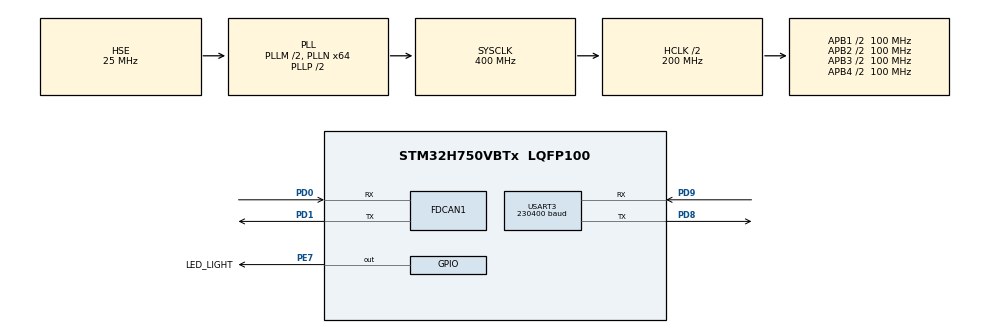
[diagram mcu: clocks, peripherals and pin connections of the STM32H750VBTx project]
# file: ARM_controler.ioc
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FDCAN1.AutoRetransmission=ENABLE
FDCAN1.CalculateBaudRateNominal=1000000
FDCAN1.CalculateTimeBitNominal=1000
FDCAN1.CalculateTimeQuantumNominal=12.5
FDCAN1.DataPrescaler=1
FDCAN1.DataSyncJumpWidth=4
FDCAN1.DataTimeSeg1=11
FDCAN1.DataTimeSeg2=4
FDCAN1.ExtFiltersNbr=0
FDCAN1.FrameFormat=FDCAN_FRAME_FD_BRS
FDCAN1.Mode=FDCAN_MODE_NORMAL
FDCAN1.NominalPrescaler=1
FDCAN1.NominalSyncJumpWidth=20
FDCAN1.NominalTimeSeg1=59
FDCAN1.NominalTimeSeg2=20
FDCAN1.ProtocolException=ENABLE
FDCAN1.RxBufferSize=FDCAN_DATA_BYTES_8
FDCAN1.RxBuffersNbr=0
FDCAN1.RxFifo0ElmtSize=FDCAN_DATA_BYTES_20
FDCAN1.RxFifo0ElmtsNbr=32
FDCAN1.RxFifo1ElmtSize=FDCAN_DATA_BYTES_20
FDCAN1.RxFifo1ElmtsNbr=8
FDCAN1.StdFiltersNbr=64
FDCAN1.TransmitPause=DISABLE
FDCAN1.TxBuffersNbr=0
FDCAN1.TxElmtSize=FDCAN_DATA_BYTES_20
FDCAN1.TxEventsNbr=0
FDCAN1.TxFifoQueueElmtsNbr=32
FDCAN1.TxFifoQueueMode=FDCAN_TX_FIFO_OPERATION
Mcu.Family=STM32H7
Mcu.Name=STM32H750VBTx
Mcu.Package=LQFP100
NVIC.FDCAN1_IT0_IRQn=true\:0\:0\:true\:false\:true\:true\:true\:true
NVIC.FDCAN1_IT1_IRQn=true\:0\:0\:true\:false\:true\:true\:true\:true
NVIC.PriorityGroup=NVIC_PRIORITYGROUP_4
NVIC.USART3_IRQn=true\:0\:0\:false\:false\:true\:true\:true\:true
PA13\ (JTMS/SWDIO).Mode=Serial_Wire
PA13\ (JTMS/SWDIO).Signal=DEBUG_JTMS-SWDIO
PA14\ (JTCK/SWCLK).Mode=Serial_Wire
PA14\ (JTCK/SWCLK).Signal=DEBUG_JTCK-SWCLK
PD0.GPIO_PuPd=GPIO_NOPULL
PD0.GPIO_Speed=GPIO_SPEED_FREQ_HIGH
PD0.Mode=FDCAN_Activate
PD0.Signal=FDCAN1_RX
PD1.GPIO_PuPd=GPIO_NOPULL
PD1.GPIO_Speed=GPIO_SPEED_FREQ_HIGH
PD1.Mode=FDCAN_Activate
PD1.Signal=FDCAN1_TX
PD8.Mode=Asynchronous
PD8.Signal=USART3_TX
PD9.Mode=Asynchronous
PD9.Signal=USART3_RX
PE7.GPIO_Label=LED_LIGHT
PE7.GPIO_Speed=GPIO_SPEED_FREQ_VERY_HIGH
PE7.Signal=GPIO_Output
PH0-OSC_IN\ (PH0).Mode=HSE-External-Oscillator
PH0-OSC_IN\ (PH0).Signal=RCC_OSC_IN
PH1-OSC_OUT\ (PH1).Mode=HSE-External-Oscillator
PH1-OSC_OUT\ (PH1).Signal=RCC_OSC_OUT
ProjectManager.HeapSize=0x200
ProjectManager.StackSize=0x400
ProjectManager.TargetToolchain=MDK-ARM V5.32
RCC.ADCFreq_Value=80000000
RCC.APB1Freq_Value=100000000
RCC.APB2Freq_Value=100000000
RCC.APB3Freq_Value=100000000
RCC.APB4Freq_Value=100000000
RCC.CortexFreq_Value=400000000
RCC.D1PPRE=RCC_APB3_DIV2
RCC.D2PPRE1=RCC_APB1_DIV2
RCC.D2PPRE2=RCC_APB2_DIV2
RCC.D3PPRE=RCC_APB4_DIV2
RCC.DIVM1=2
RCC.DIVM2=25
RCC.DIVM3=25
RCC.DIVN1=64
RCC.DIVN2=160
RCC.DIVN3=270
RCC.FDCANCLockSelection=RCC_FDCANCLKSOURCE_PLL2
RCC.HCLKFreq_Value=200000000
RCC.HPRE=RCC_HCLK_DIV2
RCC.PLL2FRACN=0
RCC.PLL3FRACN=0
RCC.PLLFRACN=0
RCC.PLLSourceVirtual=RCC_PLLSOURCE_HSE
RCC.SYSCLKFreq_VALUE=400000000
RCC.SYSCLKSource=RCC_SYSCLKSOURCE_PLLCLK
RCC.USBFreq_Value=400000000
USART3.BaudRate=230400
USART3.VirtualMode-Asynchronous=VM_ASYNC
VP_MEMORYMAP_VS_MEMORYMAP.Mode=CurAppReg
board=custom

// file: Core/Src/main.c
/* USER CODE BEGIN Header */
/**
  ******************************************************************************
  * @file           : main.c
  * @brief          : Main program body
  ******************************************************************************
  * @attention
  *
  * Copyright (c) 2025 STMicroelectronics.
  * All rights reserved.
  *
  * This software is licensed under terms that can be found in the LICENSE file
  * in the root directory of this software component.
  * If no LICENSE file comes with this software, it is provided AS-IS.
  *
  ******************************************************************************
  */
/* USER CODE END Header */
#include "main.h"
#include "fdcan.h"
#include "memorymap.h"
#include "usart.h"
#include "gpio.h"

/* USER CODE BEGIN Includes */
#include <stdio.h>
#include <string.h>
/* USER CODE END Includes */

void SystemClock_Config(void);

/* USER CODE BEGIN 0 */
FDCAN_RxHeaderTypeDef RxHeader;
uint8_t RxData[20];
uint8_t Rx_data[20];
void HAL_FDCAN_RxFifo0Callback(FDCAN_HandleTypeDef *hfdcan, uint32_t RxFifo0ITs)
{

    // 检查 FIFO0 中是否有新消息
    if ((RxFifo0ITs & FDCAN_IT_RX_FIFO0_NEW_MESSAGE) != RESET)    /* FIFO1新数据中断 */
    {
        // 接收消息
        if (HAL_FDCAN_GetRxMessage(&hfdcan1, FDCAN_RX_FIFO0, &RxHeader, RxData) == HAL_OK)
        {

						// 复制 RxData 的数据到 Rx_data
					  memcpy(Rx_data, RxData, sizeof(RxData));
					 // 清空 RxData 数组
					  memset(RxData, 0, sizeof(RxData));
            // 检查消息ID和DLC
            if ((RxHeader.Identifier == ((1 << 7) | 0x05)) && (RxHeader.DataLength == FDCAN_DLC_BYTES_1))
            {
                // 处理执行结果
                switch (RxData[0])
                {
                    case 0x00:
												printf("SUCCESS!");
                        // 正常执行
                        break;
                    case 0x01:
												printf("FILED!");
                        // 异常执行
                        break;
                    default:
                        // 未知结果
                        break;
                }
            }
        }
    }

}

float speed = 10.0f;

/* USER CODE END 0 */

int main(void)
{

  /* MCU Configuration--------------------------------------------------------*/

  /* Reset of all peripherals, Initializes the Flash interface and the Systick. */
  HAL_Init();

  /* Configure the system clock */
  SystemClock_Config();

  /* Initialize all configured peripherals */
  MX_GPIO_Init();
  MX_FDCAN1_Init();
  MX_USART3_UART_Init();
  /* USER CODE BEGIN 2 */
	FDCAN_Filter_Config();

	//设定原点
	fdcanx_send_data(&hfdcan1, 1, NULL, 0);
	HAL_Delay(10);
	//选择运动模式0x02（轮廓速度模式）
	uint8_t con_mode = 0x02;
	FDCAN_Send_MOOD(1,&con_mode);
	HAL_Delay(10);
	//启动电机，并等待1s，后控制
	FDCAN_Send_Packet(1,NULL,0);
	HAL_Delay(1000);

  /* USER CODE END 2 */

  /* Infinite loop */
  while (1)
  {

    /* USER CODE BEGIN 3 */
		//控制速度功能码0x22
		FDCAN_Send_TargetSpeed(1,0,0,speed);
		//HAL_GPIO_TogglePin(LED_LIGHT_GPIO_Port,LED_LIGHT_Pin);
		HAL_Delay(1);
  }
  /* USER CODE END 3 */
}

void SystemClock_Config(void)
{
  RCC_OscInitTypeDef RCC_OscInitStruct = {0};
  RCC_ClkInitTypeDef RCC_ClkInitStruct = {0};

  /** Supply configuration update enable
  */
  HAL_PWREx_ConfigSupply(PWR_LDO_SUPPLY);

  /** Configure the main internal regulator output voltage
  */
  __HAL_PWR_VOLTAGESCALING_CONFIG(PWR_REGULATOR_VOLTAGE_SCALE1);

  while(!__HAL_PWR_GET_FLAG(PWR_FLAG_VOSRDY)) {}

  /** Initializes the RCC Oscillators according to the specified parameters
  * in the RCC_OscInitTypeDef structure.
  */
  RCC_OscInitStruct.OscillatorType = RCC_OSCILLATORTYPE_HSE;
  RCC_OscInitStruct.HSEState = RCC_HSE_ON;
  RCC_OscInitStruct.PLL.PLLState = RCC_PLL_ON;
  RCC_OscInitStruct.PLL.PLLSource = RCC_PLLSOURCE_HSE;
  RCC_OscInitStruct.PLL.PLLM = 2;
  RCC_OscInitStruct.PLL.PLLN = 64;
  RCC_OscInitStruct.PLL.PLLP = 2;
  RCC_OscInitStruct.PLL.PLLQ = 2;
  RCC_OscInitStruct.PLL.PLLR = 2;
  RCC_OscInitStruct.PLL.PLLRGE = RCC_PLL1VCIRANGE_3;
  RCC_OscInitStruct.PLL.PLLVCOSEL = RCC_PLL1VCOWIDE;
  RCC_OscInitStruct.PLL.PLLFRACN = 0;
  if (HAL_RCC_OscConfig(&RCC_OscInitStruct) != HAL_OK)
  {
    Error_Handler();
  }

  /** Initializes the CPU, AHB and APB buses clocks
  */
  RCC_ClkInitStruct.ClockType = RCC_CLOCKTYPE_HCLK|RCC_CLOCKTYPE_SYSCLK
                              |RCC_CLOCKTYPE_PCLK1|RCC_CLOCKTYPE_PCLK2
                              |RCC_CLOCKTYPE_D3PCLK1|RCC_CLOCKTYPE_D1PCLK1;
  RCC_ClkInitStruct.SYSCLKSource = RCC_SYSCLKSOURCE_PLLCLK;
  RCC_ClkInitStruct.SYSCLKDivider = RCC_SYSCLK_DIV1;
  RCC_ClkInitStruct.AHBCLKDivider = RCC_HCLK_DIV2;
  RCC_ClkInitStruct.APB3CLKDivider = RCC_APB3_DIV2;
  RCC_ClkInitStruct.APB1CLKDivider = RCC_APB1_DIV2;
  RCC_ClkInitStruct.APB2CLKDivider = RCC_APB2_DIV2;
  RCC_ClkInitStruct.APB4CLKDivider = RCC_APB4_DIV2;

  if (HAL_RCC_ClockConfig(&RCC_ClkInitStruct, FLASH_LATENCY_2) != HAL_OK)
  {
    Error_Handler();
  }
}

/* USER CODE BEGIN 4 */
int fputc(int ch,FILE *f)
{
    HAL_UART_Transmit(&huart3,(uint8_t *)&ch,1,100);
    return 0;
}
/* USER CODE END 4 */

void Error_Handler(void)
{
  __disable_irq();
  while (1)
  {
  }
}
